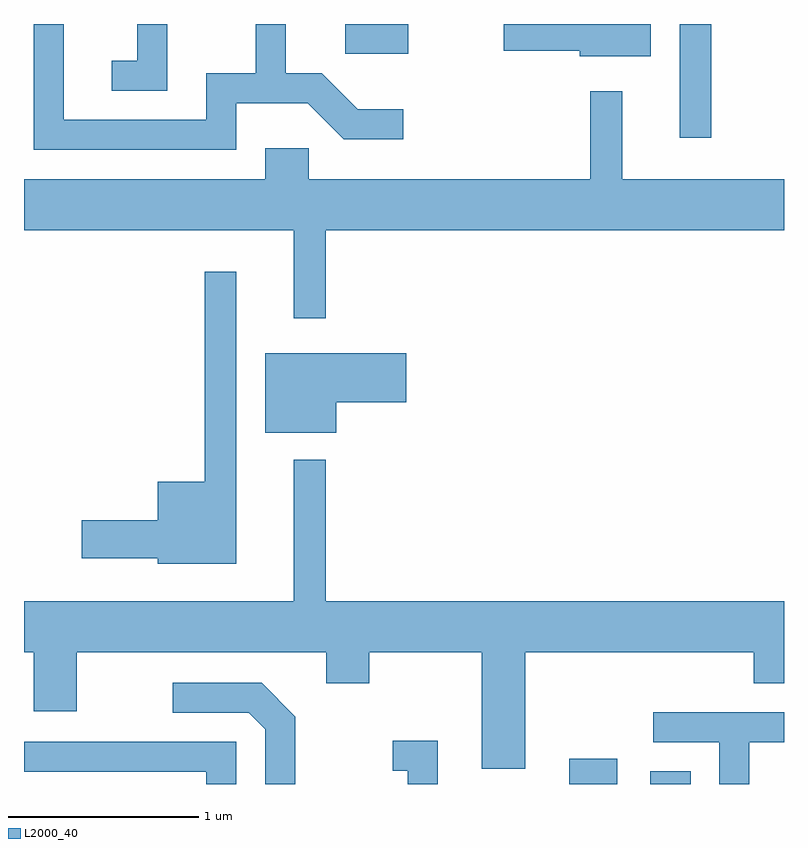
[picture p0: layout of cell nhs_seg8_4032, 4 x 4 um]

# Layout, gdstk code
import gdstk
lib = gdstk.Library(unit=1e-6, precision=1e-09)
def R(c, l, rs):  # rectangles x0, y0, x1, y1
    for r in rs: c.add(gdstk.rectangle(r[:2], r[2:], *l))
def P(c, l, *ps):  # polygons
    for p in ps: c.add(gdstk.Polygon(p, *l))
L2000_40 = (2000, 40)

nhs_seg8_4032 = lib.new_cell('nhs_seg8_4032')
R(nhs_seg8_4032, L2000_40, [(308.481,1882.342,308.734,1882.474), (308.906,1882.342,309.119,1882.409), (309.061,1885.743,309.229,1886.342), (307.301,1886.186,307.634,1886.342)])
P(nhs_seg8_4032, L2000_40, [(306.729,1885.926),(307.104,1885.926),(307.294,1885.736),(307.608,1885.736),(307.608,1885.894),(307.367,1885.894),(307.177,1886.084),(306.989,1886.084),(306.989,1886.342),(306.831,1886.342),(306.831,1886.084),(306.571,1886.084),(306.571,1885.839),(305.819,1885.839),(305.819,1886.342),(305.661,1886.342),(305.661,1885.681),(306.729,1885.681)],
  [(308.909,1886.342),(308.136,1886.342),(308.136,1886.201),(308.536,1886.201),(308.536,1886.171),(308.909,1886.171)],
  [(306.364,1886.342),(306.206,1886.342),(306.206,1886.149),(306.073,1886.149),(306.073,1885.991),(306.364,1885.991)],
  [(307.199,1885.256),(309.611,1885.256),(309.611,1885.524),(308.759,1885.524),(308.759,1885.988),(308.591,1885.988),(308.591,1885.524),(307.109,1885.524),(307.109,1885.689),(306.881,1885.689),(306.881,1885.524),(305.611,1885.524),(305.611,1885.256),(307.031,1885.256),(307.031,1884.793),(307.199,1884.793)],
  [(306.729,1885.038),(306.561,1885.038),(306.561,1883.934),(306.316,1883.934),(306.316,1883.729),(305.916,1883.729),(305.916,1883.531),(306.316,1883.531),(306.316,1883.501),(306.729,1883.501)],
  [(307.254,1884.351),(307.624,1884.351),(307.624,1884.609),(306.881,1884.609),(306.881,1884.191),(307.254,1884.191)],
  [(308.249,1883.036),(309.451,1883.036),(309.451,1882.871),(309.611,1882.871),(309.611,1883.304),(307.199,1883.304),(307.199,1884.048),(307.031,1884.048),(307.031,1883.304),(305.611,1883.304),(305.611,1883.036),(305.661,1883.036),(305.661,1882.726),(305.889,1882.726),(305.889,1883.036),(307.201,1883.036),(307.201,1882.871),(307.429,1882.871),(307.429,1883.036),(308.021,1883.036),(308.021,1882.421),(308.249,1882.421)],
  [(307.039,1882.697),(306.862,1882.874),(306.393,1882.874),(306.393,1882.716),(306.794,1882.716),(306.881,1882.629),(306.881,1882.342),(307.039,1882.342)],
  [(309.429,1882.561),(309.611,1882.561),(309.611,1882.719),(308.923,1882.719),(308.923,1882.561),(309.271,1882.561),(309.271,1882.342),(309.429,1882.342)],
  [(307.789,1882.569),(307.553,1882.569),(307.553,1882.411),(307.631,1882.411),(307.631,1882.342),(307.789,1882.342)],
  [(306.729,1882.564),(305.611,1882.564),(305.611,1882.406),(306.571,1882.406),(306.571,1882.342),(306.729,1882.342)])

lib.write_gds('nhs_seg8_4032.gds')
